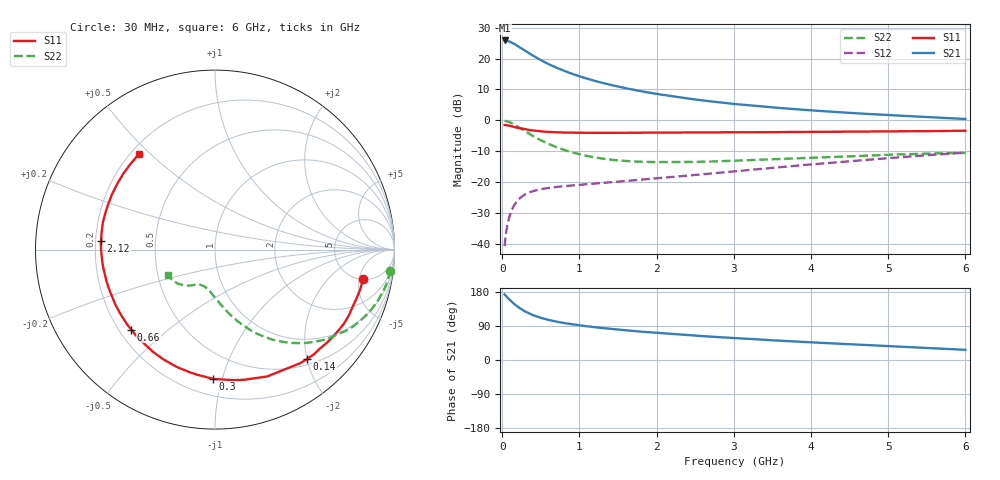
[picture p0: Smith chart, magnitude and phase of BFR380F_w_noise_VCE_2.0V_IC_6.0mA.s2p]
! Infineon Technologies  Discrete & RF Semiconductors
! BFR380F
! VCE =  2.0 V,  IC =  6.0 mA
! Common Emitter S-Parameters:  Nov 2015
# GHz  S  MA  R  50
!  f  S11  S21  S12  S22
! GHz  MAG  ANG  MAG  ANG  MAG  ANG  MAG  ANG
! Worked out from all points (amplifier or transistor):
!   206 points, 30 MHz to 6 GHz, reference 50 ohm
!   highest |S21| = 25.8 dB at 30 MHz (marker M1)
!   |S21| within 3 dB of that: start of sweep to 276.8 MHz
!   unconditionally stable (mu >= 1): 2.109 GHz to 5.252 GHz
!   at 200 MHz: K = 0.15, MSG = 24.9 dB, |S12| = -25.8 dB
!   at 1.56 GHz: K = 0.87, MSG = 15.1 dB, |S12| = -19.7 dB
!   at 6 GHz: K = 0.98, MSG = 5.4 dB, |S12| = -10.4 dB
!   lowest NFmin = 0.78 dB at 900 MHz
!   S11 on the Smith chart (normalised r, x): 30 MHz: 5.11, -5.69; 140 MHz: 0.60, -2.00; 300 MHz: 0.31, -0.93; 660 MHz: 0.25, -0.38; 2.12 GHz: 0.22, +0.03; 6 GHz: 0.23, +0.46
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0.03  0.8408 -11.2  19.57 173.1  0.0093 84.1  0.9844 -6.8
0.05  0.8345 -19.0  19.54 168.2  0.0157 80.6  0.9749 -11.2
0.07  0.8306 -26.3  19.23 164.0  0.0214 77.0  0.9589 -15.5
0.1  0.8166 -36.8  18.63 158.0  0.0298 72.1  0.9289 -21.7
0.14  0.7968 -49.9  17.61 150.5  0.0395 66.0  0.8794 -29.2
0.15  0.7909 -53.1  17.38 148.6  0.0418 64.5  0.866 -31.0
0.2  0.7645 -67.6  15.94 140.4  0.0512 58.3  0.7957 -39.0
0.26  0.735 -82.0  14.29 132.5  0.0597 52.3  0.7146 -46.9
0.3  0.7201 -90.9  13.28 127.6  0.0643 49.2  0.6639 -51.5
0.4  0.687 -108.3  11.09 118.2  0.0722 43.6  0.5582 -60.5
0.45  0.6756 -115.3  10.2 114.4  0.0751 41.7  0.5153 -64.2
0.58  0.6532 -129.5  8.366 106.9  0.0805 38.6  0.4283 -71.5
0.66  0.6451 -136.3  7.509 103.2  0.0829 37.7  0.3881 -75.3
0.8  0.6372 -146.0  6.321 97.5  0.0866 36.9  0.3336 -81.0
1.04  0.6301 -157.7  4.973 90.4  0.092 37.6  0.2763 -88.4
1.42  0.6301 -170.1  3.706 81.7  0.1006 40.7  0.2311 -98.0
2.02  0.6367 177.4  2.656 71.3  0.1164 46.3  0.2124 -108.7
2.12  0.6369 175.8  2.543 69.9  0.1194 47.2  0.2121 -110.0
3.1  0.6433 162.7  1.801 56.9  0.1541 54.1  0.2258 -120.0
4.1  0.6516 150.8  1.425 45.6  0.1993 57.0  0.2514 -127.3
5.1  0.6637 139.7  1.203 35.7  0.2511 57.1  0.2813 -138.0
6  0.6815 128.3  1.054 26.9  0.3017 54.3  0.2991 -151.4
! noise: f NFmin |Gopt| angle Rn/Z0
0.45  0.8  0.21  49  0.1
0.9  0.78  0.23  98  0.12
1.8  1.15  0.36  153  0.08
1.9  1.26  0.37  155  0.08
2.4  1.43  0.4  172  0.08
3.5  2.15  0.49  -163  0.1
